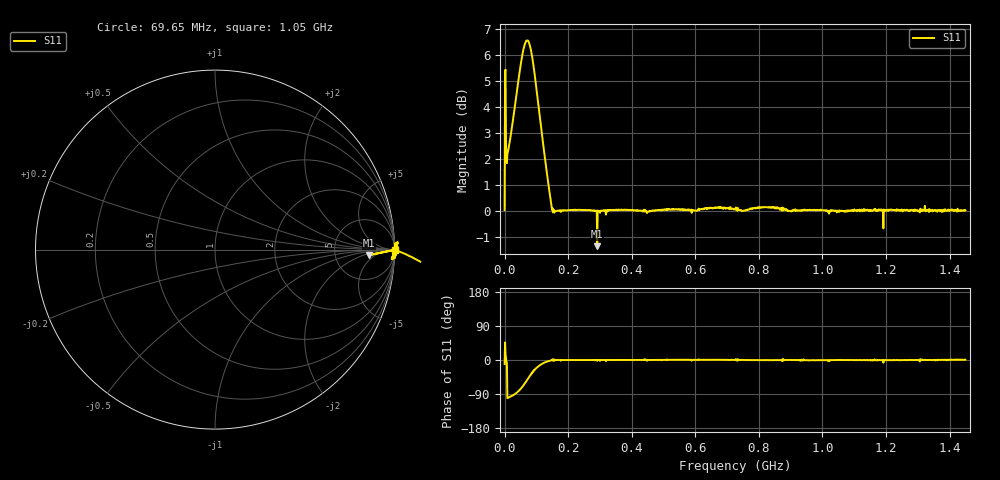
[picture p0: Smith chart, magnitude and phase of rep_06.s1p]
! Created with skrf 1.11.0 (http://scikit-rf.org).
# Hz S RI R 50.0
!freq ReS11 ImS11
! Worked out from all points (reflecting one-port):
!   1001 points, 50 kHz to 1.45 GHz, reference 50 ohm
!   lowest |S11| = -1.3 dB at 291.5 MHz (marker M1), VSWR 13.00, Z = 616 - j145 ohm
!   phase of S11 starts at -11 deg and turns +11 deg over the sweep
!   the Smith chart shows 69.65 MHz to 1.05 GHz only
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50000  0.9881 -0.1842
8749700  -0.2366 -1.267
1.019965e7  -0.2257 -1.28
1.16496e7  -0.2155 -1.293
1.599945e7  -0.1859 -1.347
2.759905e7  -0.0702 -1.514
3.77487e7  0.1018 -1.679
4.64484e7  0.3232 -1.809
5.659805e7  0.6872 -1.888
6.239785e7  0.9354 -1.86
6.67477e7  1.122 -1.797
7.689735e7  1.489 -1.492
8.269715e7  1.587 -1.288
8.99469e7  1.682 -0.9334
1.000966e8  1.61 -0.6192
1.073463e8  1.523 -0.4358
1.16046e8  1.404 -0.2719
1.261956e8  1.267 -0.1472
1.508448e8  1.014 0.0323
1.812938e8  1.003 -0.00186
2.9149e8  0.8566 -0.0312
3.625375e8  1.006 6.2e-05
5.437812e8  1.008 0.00902
7.25025e8  1.012 0.00237
9.062688e8  1.005 -0.00185
1.087512e9  1.002 -0.000386
1.268756e9  1.003 -0.00984
1.45e9  1.004 0.0134
